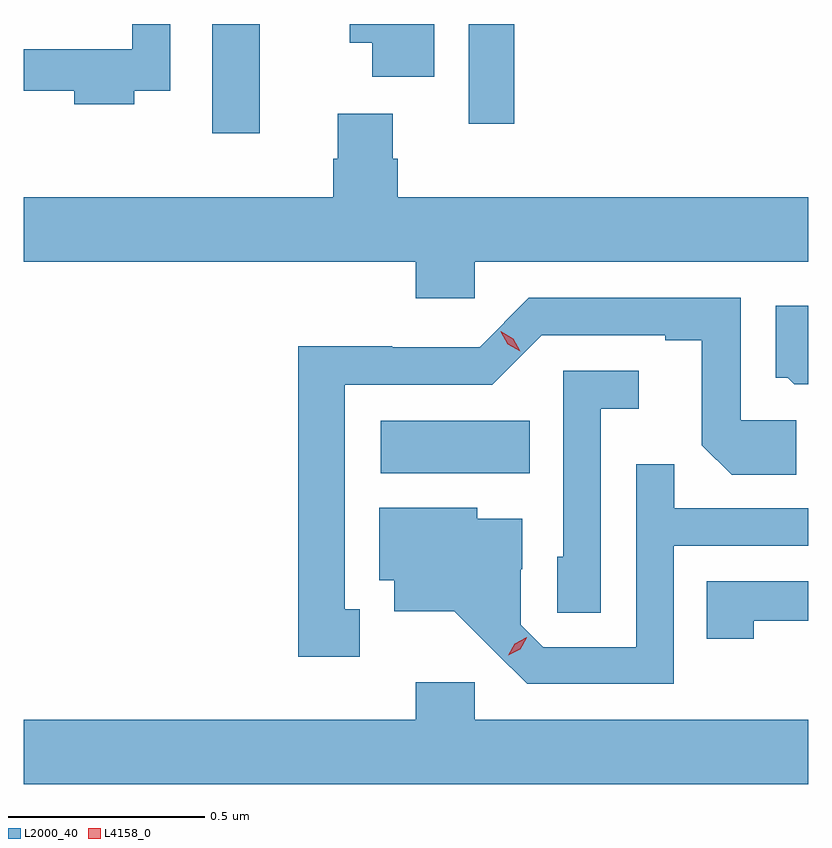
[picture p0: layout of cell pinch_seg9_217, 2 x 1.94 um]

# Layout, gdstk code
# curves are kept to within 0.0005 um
import gdstk
lib = gdstk.Library(unit=1e-6, precision=1e-09)
def R(c, l, rs):  # rectangles x0, y0, x1, y1
    for r in rs: c.add(gdstk.rectangle(r[:2], r[2:], *l))
def P(c, l, *ps):  # polygons
    for p in ps: c.add(gdstk.Polygon(p, *l))
L2000_40 = (2000, 40)
L4158_0 = (4158, 0)

pinch_seg9_217 = lib.new_cell('pinch_seg9_217')
R(pinch_seg9_217, L2000_40, [(593.364,1245.164,593.744,1245.298), (592.934,1246.032,593.056,1246.31), (593.589,1246.056,593.705,1246.31)])
P(pinch_seg9_217, L2000_40, [(592.735,1246.14),(592.827,1246.14),(592.827,1246.31),(592.731,1246.31),(592.731,1246.246),(592.454,1246.246),(592.454,1246.14),(592.583,1246.14),(592.583,1246.106),(592.735,1246.106)],
  [(593.5,1246.31),(593.285,1246.31),(593.285,1246.262),(593.342,1246.262),(593.342,1246.176),(593.5,1246.176)],
  [(593.604,1245.704),(594.454,1245.704),(594.454,1245.868),(593.408,1245.868),(593.408,1245.966),(593.395,1245.966),(593.395,1246.081),(593.255,1246.081),(593.255,1245.966),(593.243,1245.966),(593.243,1245.868),(592.454,1245.868),(592.454,1245.704),(593.453,1245.704),(593.453,1245.611),(593.604,1245.611)],
  [(593.311,1244.817),(593.272,1244.817),(593.272,1245.39),(593.649,1245.39),(593.775,1245.516),(594.089,1245.516),(594.089,1245.504),(594.183,1245.504),(594.183,1245.236),(594.259,1245.16),(594.424,1245.16),(594.424,1245.3),(594.282,1245.3),(594.282,1245.612),(593.742,1245.612),(593.616,1245.486),(593.394,1245.486),(593.394,1245.488),(593.154,1245.488),(593.154,1244.697),(593.311,1244.697)],
  [(594.454,1245.592),(594.371,1245.592),(594.371,1245.408),(594.402,1245.408),(594.418,1245.392),(594.454,1245.392)],
  [(593.925,1245.329),(594.022,1245.329),(594.022,1245.426),(593.829,1245.426),(593.829,1244.952),(593.814,1244.952),(593.814,1244.809),(593.925,1244.809)],
  [(594.111,1244.979),(594.454,1244.979),(594.454,1245.075),(594.113,1245.075),(594.113,1245.188),(594.015,1245.188),(594.015,1244.721),(593.778,1244.721),(593.721,1244.778),(593.721,1244.92),(593.725,1244.92),(593.725,1245.049),(593.61,1245.049),(593.61,1245.076),(593.36,1245.076),(593.36,1244.892),(593.399,1244.892),(593.399,1244.813),(593.551,1244.813),(593.738,1244.628),(594.111,1244.628)],
  [(594.315,1244.788),(594.454,1244.788),(594.454,1244.889),(594.196,1244.889),(594.196,1244.742),(594.315,1244.742)],
  [(594.454,1244.536),(593.604,1244.536),(593.604,1244.632),(593.453,1244.632),(593.453,1244.536),(592.454,1244.536),(592.454,1244.372),(594.454,1244.372)])
P(pinch_seg9_217, L4158_0, [(593.689,1244.7),(593.689,1244.7),(593.706,1244.73),(593.737,1244.746),(593.737,1244.746),(593.737,1244.745),(593.72,1244.716),(593.689,1244.7)],
  [(593.72,1245.475),(593.688,1245.493),(593.67,1245.525),(593.67,1245.526),(593.67,1245.526),(593.702,1245.507),(593.72,1245.475),(593.72,1245.475)])

lib.write_gds('pinch_seg9_217.gds')
